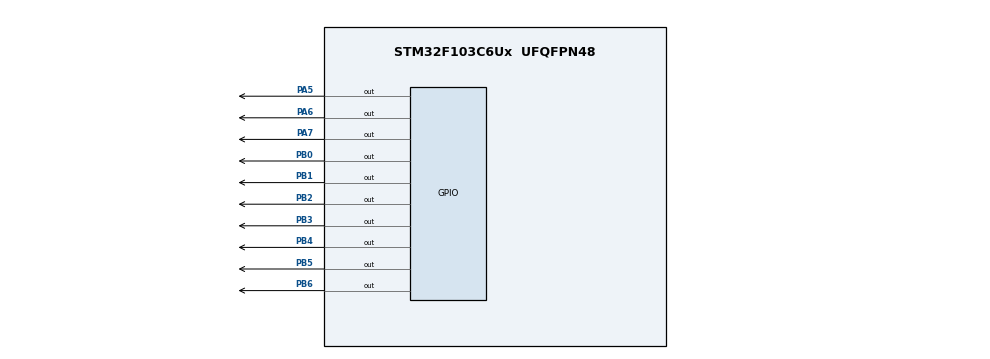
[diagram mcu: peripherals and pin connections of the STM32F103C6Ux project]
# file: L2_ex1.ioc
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Mcu.Family=STM32F1
Mcu.Name=STM32F103C6Ux
Mcu.Package=UFQFPN48
NVIC.PriorityGroup=NVIC_PRIORITYGROUP_4
NVIC.TIM2_IRQn=true\:0\:0\:false\:false\:true\:true\:true
PA5.Signal=GPIO_Output
PA6.Signal=GPIO_Output
PA7.Signal=GPIO_Output
PB0.Signal=GPIO_Output
PB1.Signal=GPIO_Output
PB2.Signal=GPIO_Output
PB3.Signal=GPIO_Output
PB4.Signal=GPIO_Output
PB5.Signal=GPIO_Output
PB6.Signal=GPIO_Output
ProjectManager.HeapSize=0x200
ProjectManager.StackSize=0x400
ProjectManager.TargetToolchain=STM32CubeIDE
RCC.APB1Freq_Value=8000000
RCC.APB2Freq_Value=8000000
TIM2.Period=9
TIM2.Prescaler=7999
VP_SYS_VS_ND.Mode=No_Debug
VP_TIM2_VS_ClockSourceINT.Mode=Internal
board=custom

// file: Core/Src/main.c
/* USER CODE BEGIN Header */
/**
  ******************************************************************************
  * @file           : main.c
  * @brief          : Main program body
  ******************************************************************************
  * @attention
  *
  * <h2><center>&copy; Copyright (c) 2026 STMicroelectronics.
  * All rights reserved.</center></h2>
  *
  * This software component is licensed by ST under BSD 3-Clause license,
  * the "License"; You may not use this file except in compliance with the
  * License. You may obtain a copy of the License at:
  *                        opensource.org/licenses/BSD-3-Clause
  *
  ******************************************************************************
  */
/* USER CODE END Header */
#include "main.h"

TIM_HandleTypeDef htim2;

/* Private function prototypes -----------------------	------------------------*/
void SystemClock_Config(void);
static void MX_GPIO_Init(void);
static void MX_TIM2_Init(void);
/* USER CODE BEGIN PFP */
void display7SEG(int num);
/* USER CODE END PFP */

int main(void)
{

  /* MCU Configuration--------------------------------------------------------*/

  /* Reset of all peripherals, Initializes the Flash interface and the Systick. */
  HAL_Init();

  /* Configure the system clock */
  SystemClock_Config();

  /* Initialize all configured peripherals */
  MX_GPIO_Init();
  MX_TIM2_Init();
  /* USER CODE BEGIN 2 */
  HAL_TIM_Base_Start_IT(&htim2);
  /* USER CODE END 2 */

  /* Infinite loop */
  while (1)
  {

  }
}

void SystemClock_Config(void)
{
  RCC_OscInitTypeDef RCC_OscInitStruct = {0};
  RCC_ClkInitTypeDef RCC_ClkInitStruct = {0};

  /** Initializes the RCC Oscillators according to the specified parameters
  * in the RCC_OscInitTypeDef structure.
  */
  RCC_OscInitStruct.OscillatorType = RCC_OSCILLATORTYPE_HSI;
  RCC_OscInitStruct.HSIState = RCC_HSI_ON;
  RCC_OscInitStruct.HSICalibrationValue = RCC_HSICALIBRATION_DEFAULT;
  RCC_OscInitStruct.PLL.PLLState = RCC_PLL_NONE;
  if (HAL_RCC_OscConfig(&RCC_OscInitStruct) != HAL_OK)
  {
    Error_Handler();
  }
  /** Initializes the CPU, AHB and APB buses clocks
  */
  RCC_ClkInitStruct.ClockType = RCC_CLOCKTYPE_HCLK|RCC_CLOCKTYPE_SYSCLK
                              |RCC_CLOCKTYPE_PCLK1|RCC_CLOCKTYPE_PCLK2;
  RCC_ClkInitStruct.SYSCLKSource = RCC_SYSCLKSOURCE_HSI;
  RCC_ClkInitStruct.AHBCLKDivider = RCC_SYSCLK_DIV1;
  RCC_ClkInitStruct.APB1CLKDivider = RCC_HCLK_DIV1;
  RCC_ClkInitStruct.APB2CLKDivider = RCC_HCLK_DIV1;

  if (HAL_RCC_ClockConfig(&RCC_ClkInitStruct, FLASH_LATENCY_0) != HAL_OK)
  {
    Error_Handler();
  }
}

static void MX_TIM2_Init(void)
{

  TIM_ClockConfigTypeDef sClockSourceConfig = {0};
  TIM_MasterConfigTypeDef sMasterConfig = {0};

  htim2.Instance = TIM2;
  htim2.Init.Prescaler = 7999;
  htim2.Init.CounterMode = TIM_COUNTERMODE_UP;
  htim2.Init.Period = 9;
  htim2.Init.ClockDivision = TIM_CLOCKDIVISION_DIV1;
  htim2.Init.AutoReloadPreload = TIM_AUTORELOAD_PRELOAD_DISABLE;
  if (HAL_TIM_Base_Init(&htim2) != HAL_OK)
  {
    Error_Handler();
  }
  sClockSourceConfig.ClockSource = TIM_CLOCKSOURCE_INTERNAL;
  if (HAL_TIM_ConfigClockSource(&htim2, &sClockSourceConfig) != HAL_OK)
  {
    Error_Handler();
  }
  sMasterConfig.MasterOutputTrigger = TIM_TRGO_RESET;
  sMasterConfig.MasterSlaveMode = TIM_MASTERSLAVEMODE_DISABLE;
  if (HAL_TIMEx_MasterConfigSynchronization(&htim2, &sMasterConfig) != HAL_OK)
  {
    Error_Handler();
  }

}

static void MX_GPIO_Init(void)
{
  GPIO_InitTypeDef GPIO_InitStruct = {0};

  /* GPIO Ports Clock Enable */
  __HAL_RCC_GPIOA_CLK_ENABLE();
  __HAL_RCC_GPIOB_CLK_ENABLE();

  /*Configure GPIO pin Output Level */
  HAL_GPIO_WritePin(GPIOA, GPIO_PIN_5|GPIO_PIN_6|GPIO_PIN_7, GPIO_PIN_RESET);

  /*Configure GPIO pin Output Level */
  HAL_GPIO_WritePin(GPIOB, GPIO_PIN_0|GPIO_PIN_1|GPIO_PIN_2|GPIO_PIN_3
                          |GPIO_PIN_4|GPIO_PIN_5|GPIO_PIN_6, GPIO_PIN_RESET);

  /*Configure GPIO pins : PA5 PA6 PA7 */
  GPIO_InitStruct.Pin = GPIO_PIN_5|GPIO_PIN_6|GPIO_PIN_7;
  GPIO_InitStruct.Mode = GPIO_MODE_OUTPUT_PP;
  GPIO_InitStruct.Pull = GPIO_NOPULL;
  GPIO_InitStruct.Speed = GPIO_SPEED_FREQ_LOW;
  HAL_GPIO_Init(GPIOA, &GPIO_InitStruct);

  /*Configure GPIO pins : PB0 PB1 PB2 PB3
                           PB4 PB5 PB6 */
  GPIO_InitStruct.Pin = GPIO_PIN_0|GPIO_PIN_1|GPIO_PIN_2|GPIO_PIN_3
                          |GPIO_PIN_4|GPIO_PIN_5|GPIO_PIN_6;
  GPIO_InitStruct.Mode = GPIO_MODE_OUTPUT_PP;
  GPIO_InitStruct.Pull = GPIO_NOPULL;
  GPIO_InitStruct.Speed = GPIO_SPEED_FREQ_LOW;
  HAL_GPIO_Init(GPIOB, &GPIO_InitStruct);

}

/* USER CODE BEGIN 4 */
void display7SEG(int num) {
    switch (num) {
        case 0:

            HAL_GPIO_WritePin(GPIOB, GPIO_PIN_0 | GPIO_PIN_1 | GPIO_PIN_2 |
                                     GPIO_PIN_3 | GPIO_PIN_4 | GPIO_PIN_5, GPIO_PIN_RESET);
            HAL_GPIO_WritePin(GPIOB, GPIO_PIN_6, GPIO_PIN_SET);
            break;

        case 1:

            HAL_GPIO_WritePin(GPIOB, GPIO_PIN_1 | GPIO_PIN_2, GPIO_PIN_RESET);
            HAL_GPIO_WritePin(GPIOB, GPIO_PIN_0 | GPIO_PIN_3 | GPIO_PIN_4 |
                                     GPIO_PIN_5 | GPIO_PIN_6, GPIO_PIN_SET);
            break;

        case 2:

            HAL_GPIO_WritePin(GPIOB, GPIO_PIN_0 | GPIO_PIN_1 | GPIO_PIN_3 |
                                     GPIO_PIN_4 | GPIO_PIN_6, GPIO_PIN_RESET);
            HAL_GPIO_WritePin(GPIOB, GPIO_PIN_2 | GPIO_PIN_5, GPIO_PIN_SET);
            break;

        case 3:

            HAL_GPIO_WritePin(GPIOB, GPIO_PIN_0 | GPIO_PIN_1 | GPIO_PIN_2 |
                                     GPIO_PIN_3 | GPIO_PIN_6, GPIO_PIN_RESET);
            HAL_GPIO_WritePin(GPIOB, GPIO_PIN_4 | GPIO_PIN_5, GPIO_PIN_SET);
            break;

        case 4:

            HAL_GPIO_WritePin(GPIOB, GPIO_PIN_1 | GPIO_PIN_2 | GPIO_PIN_5 |
                                     GPIO_PIN_6, GPIO_PIN_RESET);
            HAL_GPIO_WritePin(GPIOB, GPIO_PIN_0 | GPIO_PIN_3 | GPIO_PIN_4, GPIO_PIN_SET);
            break;

        case 5:

            HAL_GPIO_WritePin(GPIOB, GPIO_PIN_0 | GPIO_PIN_2 | GPIO_PIN_3 |
                                     GPIO_PIN_5 | GPIO_PIN_6, GPIO_PIN_RESET);
            HAL_GPIO_WritePin(GPIOB, GPIO_PIN_1 | GPIO_PIN_4, GPIO_PIN_SET);
            break;

        case 6:

            HAL_GPIO_WritePin(GPIOB, GPIO_PIN_0 | GPIO_PIN_2 | GPIO_PIN_3 |
                                     GPIO_PIN_4 | GPIO_PIN_5 | GPIO_PIN_6, GPIO_PIN_RESET);
            HAL_GPIO_WritePin(GPIOB, GPIO_PIN_1, GPIO_PIN_SET);
            break;

        case 7:

            HAL_GPIO_WritePin(GPIOB, GPIO_PIN_0 | GPIO_PIN_1 | GPIO_PIN_2, GPIO_PIN_RESET);
            HAL_GPIO_WritePin(GPIOB, GPIO_PIN_3 | GPIO_PIN_4 | GPIO_PIN_5 |
                                     GPIO_PIN_6, GPIO_PIN_SET);
            break;

        case 8:

            HAL_GPIO_WritePin(GPIOB, GPIO_PIN_0 | GPIO_PIN_1 | GPIO_PIN_2 |
                                     GPIO_PIN_3 | GPIO_PIN_4 | GPIO_PIN_5 |
                                     GPIO_PIN_6, GPIO_PIN_RESET);
            break;

        case 9:

            HAL_GPIO_WritePin(GPIOB, GPIO_PIN_0 | GPIO_PIN_1 | GPIO_PIN_2 |
                                     GPIO_PIN_3 | GPIO_PIN_5 | GPIO_PIN_6, GPIO_PIN_RESET);
            HAL_GPIO_WritePin(GPIOB, GPIO_PIN_4, GPIO_PIN_SET);
            break;

        default:

            HAL_GPIO_WritePin(GPIOB, GPIO_PIN_0 | GPIO_PIN_1 | GPIO_PIN_2 |
                                     GPIO_PIN_3 | GPIO_PIN_4 | GPIO_PIN_5 |
                                     GPIO_PIN_6, GPIO_PIN_SET);
            break;
    }
}
int timer_counter = 50;
int led_state = 0;

void HAL_TIM_PeriodElapsedCallback(TIM_HandleTypeDef *htim) {
    if (htim->Instance == TIM2) {
        timer_counter--;
        if (timer_counter <= 0) {
            timer_counter = 50;
            HAL_GPIO_TogglePin(GPIOA, GPIO_PIN_5);
            if (led_state == 0) {
                // Pha 1: Bật LED 1 hiển thị số "1"

                HAL_GPIO_WritePin(GPIOA, GPIO_PIN_6, GPIO_PIN_RESET);
                HAL_GPIO_WritePin(GPIOA, GPIO_PIN_7, GPIO_PIN_SET);
                display7SEG(1);

                led_state = 1;
            }
            else {
                // Pha 2: Bật LED 2 hiển thị số "2"
                HAL_GPIO_WritePin(GPIOA, GPIO_PIN_6, GPIO_PIN_SET);
                HAL_GPIO_WritePin(GPIOA, GPIO_PIN_7, GPIO_PIN_RESET);
                display7SEG(2);

                led_state = 0;
            }
        }
    }
}

/* USER CODE END 4 */

void Error_Handler(void)
{
  __disable_irq();
  while (1)
  {
  }
}

/************************ (C) COPYRIGHT STMicroelectronics *****END OF FILE****/
